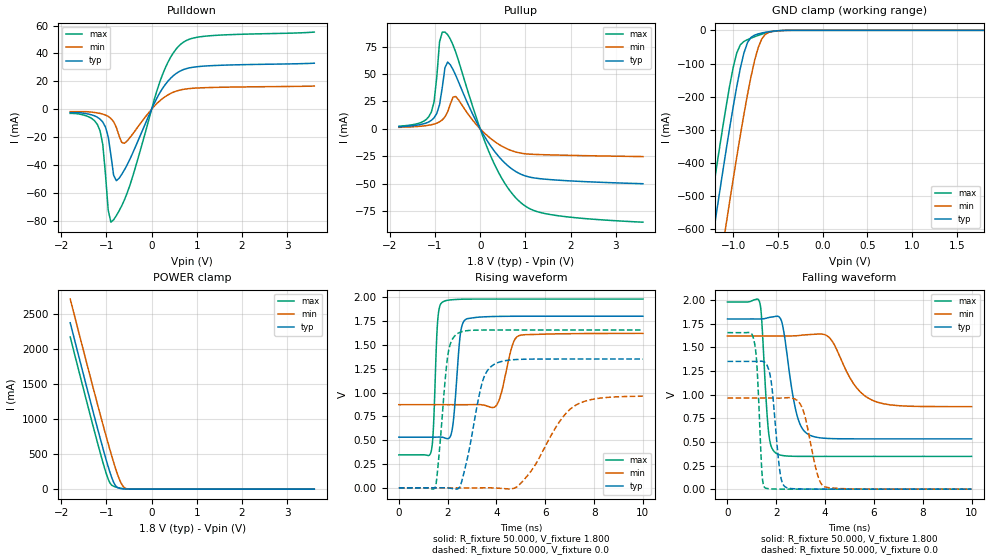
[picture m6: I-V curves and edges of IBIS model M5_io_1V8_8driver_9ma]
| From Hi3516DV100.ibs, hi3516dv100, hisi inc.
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|   Model M5_io_1V8_8driver_9ma
[Model] M5_io_1V8_8driver_9ma
Model_type I/O
Enable   Active-Low
|   typ   min   max
C_comp   3.314pF   2.875pF   3.467pF
C_comp_pullup   1.962pF   1.695pF   2.041pF
C_comp_pulldown   1.178pF   1.066pF   1.195pF
[Temperature Range]   25.000   0.125k   -40.000
[Voltage Range]   1.800V   1.620V   1.980V
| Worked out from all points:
|   slope of the pulldown table from 0 to 0.27 V, typ, clamps not added: 16.6 ohm
|   slope of the pullup table from 0 to 0.27 V, typ, clamps not added: 15.1 ohm
|   GND clamp passes 1 mA (typ) near -0.49 V on its own axis
|   POWER clamp passes 1 mA (typ) near -0.53 V on its own axis
|   rising waveform, R_fixture 50.000, V_fixture 1.800: 20-80 % time 225ps typ, 398ps min, 142ps max; typ from 0.532 V to 1.8 V
|   rising waveform, R_fixture 50.000, V_fixture 0.0: 20-80 % time 619ps typ, 1.34ns min, 333ps max; typ from 0 V to 1.35 V
|   falling waveform, R_fixture 50.000, V_fixture 1.800: 20-80 % time 469ps typ, 984ps min, 224ps max; typ from 1.8 V to 0.532 V
|   falling waveform, R_fixture 50.000, V_fixture 0.0: 20-80 % time 288ps typ, 474ps min, 177ps max; typ from 1.35 V to 0 V
[Pulldown]
|Voltage   I(typ)   I(min)   I(max)
-1.8V     -2.48mA    -1.733mA   -2.987mA
-1.32V    -4.095mA   -2.079mA   -6.68mA
-1.14V    -7.065mA   -2.987mA   -15.48mA
-1.08V    -9.176mA   -3.481mA   -25.23mA
-960mV    -19.71mA   -5.122mA   -72.37mA
-900mV    -32.85mA   -6.587mA   -81mA
-840mV    -47.26mA   -8.962mA   -79.27mA
-720mV    -49.52mA   -18.97mA   -72.93mA
-600mV    -43.42mA   -24.39mA   -64.92mA
180mV     11.7mA     6.008mA    19.43mA
600mV     26.84mA    13.54mA    45.29mA
3.6V      33.03mA    16.63mA    55.35mA
[Pullup]
|Voltage   I(typ)   I(min)   I(max)
-1.8V     1.945mA    1.391mA    2.417mA
-1.32V    3.942mA    2.422mA    5.662mA
-1.08V    7.79mA     3.79mA     15.46mA
-1.02V    10.13mA    4.397mA    24.93mA
-900mV    21.96mA    6.382mA    79.22mA
-780mV    55.81mA    10.91mA    88.21mA
-720mV    60.87mA    15.58mA    85.89mA
-540mV    48.64mA    29.51mA    69.71mA
180mV     -12.45mA   -7.023mA   -19.66mA
840mV     -40.11mA   -21.62mA   -65.08mA
1.5V      -46.06mA   -23.65mA   -77.7mA
3.6V      -49.98mA   -25.25mA   -85.04mA
[GND_clamp]
|Voltage   I(typ)   I(min)   I(max)
-1.8V     -1.691A    -1.906A    -1.562A
-1.28V    -718.8mA   -945.3mA   -582.9mA
-1.2V     -573.8mA   -800.2mA   -438.1mA
-1.08V    -362.8mA   -586.8mA   -231.3mA
-1V       -230.6mA   -448.7mA   -112.1mA
-960mV    -169.4mA   -381.5mA   -68.27mA
-880mV    -68.26mA   -253.2mA   -33.53mA
-800mV    -21.15mA   -138.4mA   -23.47mA
-720mV    -10.71mA   -51.74mA   -15.27mA
-680mV    -8.059mA   -25.85mA   -11.7mA
-600mV    -4.119mA   -5.718mA   -5.884mA
1.8V      0A         0A         0A
[POWER_clamp]
|Voltage   I(typ)   I(min)   I(max)
-1.8V     2.376A     2.715A     2.172A
-1.2V     877.1mA    1.22A      670.4mA
-1.04V    498.6mA    836.2mA    300.3mA
-960mV    321mA      649.8mA    143.2mA
-920mV    238.2mA    558.8mA    86.5mA
-880mV    162.5mA    469.9mA    55.14mA
-800mV    51.19mA    300.9mA    32.23mA
-760mV    25.15mA    223.2mA    24.36mA
-680mV    8.367mA    92.98mA    12.8mA
-600mV    3.083mA    20.8mA     5.475mA
-400mV    50.2uA     121.8uA    62uA
3.6V      -21.96uA   -79.79nA   -43uA
[Ramp]
| variable   typ   min   max
dV/dt_r   0.811/0.621n   0.577/1.340n   0.993/0.334n
dV/dt_f   0.761/0.470n   0.449/0.984n   0.980/0.224n
R_load = 50.000
[Rising Waveform]
R_fixture= 50.000
V_fixture= 1.800
V_fixture_min= 1.620
V_fixture_max= 1.980
|time   V(typ)   V(min)   V(max)
0s        531.8mV    872.4mV    346.5mV
1.325ns   531.7mV    872.4mV    382.5mV
1.583ns   532.3mV    872.4mV    1.724V
1.789ns   530.6mV    872.4mV    1.948V
2.169ns   590.1mV    872.4mV    1.972V
2.508ns   1.588V     872.2mV    1.978V
2.769ns   1.771V     872.2mV    1.979V
3.991ns   1.798V     862.5mV    1.98V
4.911ns   1.8V       1.595V     1.98V
10ns      1.8V       1.62V      1.98V
[Rising Waveform]
R_fixture= 50.000
V_fixture= 0.0
V_fixture_min= 0.0
V_fixture_max= 0.0
|time   V(typ)   V(min)   V(max)
0s        220.8uV    0V         284.4uV
1.49ns    198.5uV    0V         9.918mV
2.003ns   -208.1uV   0V         1.384V
2.388ns   -12.27mV   7.862uV    1.616V
2.768ns   266.5mV    -3.759uV   1.648V
3.408ns   1.098V     208.1uV    1.655V
3.818ns   1.281V     71.93uV    1.655V
4.921ns   1.347V     29.28mV    1.655V
7.271ns   1.351V     870.4mV    1.655V
10ns      1.351V     961.5mV    1.655V
[Falling Waveform]
R_fixture= 50.000
V_fixture= 1.800
V_fixture_min= 1.620
V_fixture_max= 1.980
|time   V(typ)   V(min)   V(max)
0s        1.8V       1.62V      1.98V
1.31ns    1.8V       1.62V      1.984V
1.691ns   1.815V     1.62V      587.4mV
1.976ns   1.828V     1.62V      382.9mV
2.244ns   1.749V     1.62V      356.5mV
2.863ns   768.9mV    1.623V     347.1mV
3.239ns   591.3mV    1.633V     346.6mV
4.162ns   535.8mV    1.605V     346.5mV
5.916ns   531.9mV    942.7mV    346.5mV
10ns      531.8mV    872.4mV    346.5mV
[Falling Waveform]
R_fixture= 50.000
V_fixture= 0.0
V_fixture_min= 0.0
V_fixture_max= 0.0
|time   V(typ)   V(min)   V(max)
0s        1.351V     963.4mV    1.655V
1.073ns   1.351V     963.4mV    1.587V
1.208ns   1.351V     963.4mV    1.299V
1.42ns    1.353V     963.4mV    148.7mV
1.552ns   1.336V     963.4mV    12.27mV
2.172ns   145.6mV    962.9mV    769.2uV
2.373ns   22.51mV    965.6mV    472.2uV
3.042ns   1.7mV      871.5mV    293.3uV
3.971ns   309.4uV    26.42mV    284.8uV
10ns      221uV      787.4nV    284.4uV
